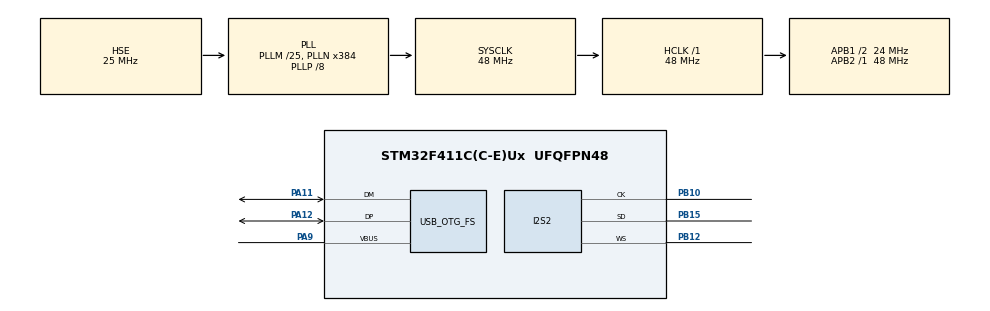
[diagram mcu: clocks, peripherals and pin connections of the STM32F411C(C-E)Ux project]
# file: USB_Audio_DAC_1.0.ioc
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Dma.Request0=SPI2_TX
Dma.SPI2_TX.0.Direction=DMA_MEMORY_TO_PERIPH
Dma.SPI2_TX.0.FIFOMode=DMA_FIFOMODE_ENABLE
Dma.SPI2_TX.0.FIFOThreshold=DMA_FIFO_THRESHOLD_FULL
Dma.SPI2_TX.0.Instance=DMA1_Stream4
Dma.SPI2_TX.0.MemBurst=DMA_MBURST_SINGLE
Dma.SPI2_TX.0.MemDataAlignment=DMA_MDATAALIGN_HALFWORD
Dma.SPI2_TX.0.MemInc=DMA_MINC_ENABLE
Dma.SPI2_TX.0.Mode=DMA_CIRCULAR
Dma.SPI2_TX.0.PeriphBurst=DMA_PBURST_SINGLE
Dma.SPI2_TX.0.PeriphDataAlignment=DMA_PDATAALIGN_HALFWORD
Dma.SPI2_TX.0.PeriphInc=DMA_PINC_DISABLE
Dma.SPI2_TX.0.Priority=DMA_PRIORITY_HIGH
I2S2.AudioFreq=I2S_AUDIOFREQ_48K
I2S2.ErrorAudioFreq=0.00 %
I2S2.FullDuplexMode=I2S_FULLDUPLEXMODE_DISABLE
I2S2.Instance=SPI$Index
I2S2.RealAudioFreq=48 KHz
I2S2.VirtualMode=I2S_MODE_MASTER
Mcu.Family=STM32F4
Mcu.Name=STM32F411C(C-E)Ux
Mcu.Package=UFQFPN48
NVIC.DMA1_Stream4_IRQn=true\:0\:0\:false\:false\:true\:false\:true\:true
NVIC.OTG_FS_IRQn=true\:0\:0\:false\:false\:true\:false\:true\:true
NVIC.PriorityGroup=NVIC_PRIORITYGROUP_4
PA11.Mode=Device_Only
PA11.Signal=USB_OTG_FS_DM
PA12.Mode=Device_Only
PA12.Signal=USB_OTG_FS_DP
PA9.Mode=Activate_VBUS
PA9.Signal=USB_OTG_FS_VBUS
PB10.Mode=Half_Duplex_Master
PB10.Signal=I2S2_CK
PB10.GPIO_Speed=GPIO_SPEED_FREQ_HIGH
PB12.Mode=Half_Duplex_Master
PB12.Signal=I2S2_WS
PB12.GPIO_Speed=GPIO_SPEED_FREQ_HIGH
PB15.Mode=Half_Duplex_Master
PB15.Signal=I2S2_SD
PB15.GPIO_Speed=GPIO_SPEED_FREQ_HIGH
PH0\ -\ OSC_IN.Mode=HSE-External-Oscillator
PH0\ -\ OSC_IN.Signal=RCC_OSC_IN
PH1\ -\ OSC_OUT.Mode=HSE-External-Oscillator
PH1\ -\ OSC_OUT.Signal=RCC_OSC_OUT
ProjectManager.HeapSize=0x1000
ProjectManager.StackSize=0x800
ProjectManager.TargetToolchain=Makefile
RCC.48MHZClocksFreq_Value=48000000
RCC.AHBFreq_Value=48000000
RCC.APB1CLKDivider=RCC_HCLK_DIV2
RCC.APB1Freq_Value=24000000
RCC.APB1TimFreq_Value=48000000
RCC.APB2Freq_Value=48000000
RCC.APB2TimFreq_Value=48000000
RCC.CortexFreq_Value=48000000
RCC.EnbaleCSS=true
RCC.HCLKFreq_Value=48000000
RCC.HSE_VALUE=25000000
RCC.HSI_VALUE=16000000
RCC.LSE_VALUE=32768
RCC.PLLI2SN=384
RCC.PLLI2SM=25
RCC.PLLM=25
RCC.PLLN=384
RCC.PLLP=RCC_PLLP_DIV8
RCC.PLLQ=8
RCC.RCC_MCO1Source=RCC_MCO1SOURCE_HSE
RCC.SYSCLKFreq_VALUE=48000000
RCC.SYSCLKSource=RCC_SYSCLKSOURCE_PLLCLK
RCC.VCOOutputFreq_Value=384000000
USB_DEVICE.CLASS_NAME_FS=AUDIO
USB_DEVICE.USBD_AUDIO_FREQ=48000
USB_DEVICE.VirtualMode=Audio
USB_DEVICE.VirtualModeFS=Audio_FS
USB_OTG_FS.Sof_enable=ENABLE
USB_OTG_FS.VirtualMode=Device_Only
VP_USB_DEVICE_VS_USB_DEVICE_AUDIO_FS.Mode=AUDIO_FS
board=custom

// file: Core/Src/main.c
/* USER CODE BEGIN Header */
/**
  ******************************************************************************
  * @file           : main.c
  * @brief          : Main program body
  ******************************************************************************
  * @attention
  *
  * Copyright (c) 2026 STMicroelectronics.
  * All rights reserved.
  *
  * This software is licensed under terms that can be found in the LICENSE file
  * in the root directory of this software component.
  * If no LICENSE file comes with this software, it is provided AS-IS.
  *
  ******************************************************************************
  */
/* USER CODE END Header */
#include "main.h"
#include "usb_device.h"

/* USER CODE BEGIN Includes */
#include "audio_i2s.h"
#include "audio_fft.h"
#include "visualizer.h"
/* USER CODE END Includes */

I2S_HandleTypeDef hi2s2;
DMA_HandleTypeDef hdma_spi2_tx;

/* USER CODE BEGIN PV */
/* The 1 kHz sine test buffer (AUDIO_BUFFER[882]) and the
 * Phase 2 sine-generation code are removed. The DMA now runs
 * on audio_i2s_buffer (in audio_i2s.c), which the I2S callbacks
 * refill from the USB ring buffer. */

/* Independent watchdog (~1 s window, refreshed every main-loop pass).
 * File-scope (not static) so the CubeMX-generated handle stays visible to
 * the IWDG HAL; instance is the shared IWDG peripheral. */
IWDG_HandleTypeDef hiwdg;
/* USER CODE END PV */

void SystemClock_Config(void);
static void MX_GPIO_Init(void);
static void MX_DMA_Init(void);
static void MX_I2S2_Init(void);

int main(void)
{

  /* MCU Configuration--------------------------------------------------------*/

  /* Reset of all peripherals, Initializes the Flash interface and the Systick. */
  HAL_Init();

  /* Configure the system clock */
  SystemClock_Config();

  /* USER CODE BEGIN SysInit */
  /* Spectrum visualizer: arm the FFT double-buffer BEFORE
   * AudioI2S_Init() starts circular DMA — otherwise the refill ISR
   * (DMA1_Stream4, priority 0) could call AudioFFT_PutSamples()
   * while Init clears flags / memset(tap_buf) / builds the Hann
   * window. AudioFFT_Init has no I2S/USB dependency (RFFT table,
   * window, flags only). */
  AudioFFT_Init();
  /* USER CODE END SysInit */

  /* Initialize all configured peripherals */
  MX_GPIO_Init();
  MX_DMA_Init();
  MX_I2S2_Init();

  /* Start the I2S consumer BEFORE USB enumeration so the
   * peripheral is already clocking out silence from a zeroed
   * buffer. When the USB host opens its audio pipe and the
   * ring starts filling, the I2S callbacks (in stm32f4xx_it.c)
   * will start pulling samples from the ring into the buffer.
   *
   * Order matters: if USB started first, the ring would fill
   * but nothing would drain it — by the time I2S started, the
   * ring could be overflowing on a bursty source. */
  AudioI2S_Init();

  MX_USB_DEVICE_Init();
  /* USER CODE BEGIN 2 */
  /* (Phase 2 1 kHz sine generation removed; the I2S DMA now
   * streams from audio_i2s_buffer, which is refilled from the
   * USB ring buffer.) */

  /* TFT visualizer: ST7735 SPI bring-up + splash. Must run BEFORE
   * the IWDG starts — the splash blocks in HAL_Delay for ~3.5 s,
   * which would trip a ~1 s watchdog mid-animation and reset the MCU. */
  Visualizer_Init();

  /* Start the independent watchdog: LSI (~32 kHz) / 64 = 500 Hz,
   * reload 500  ->  ~1.0 s timeout. Refresh happens in the main
   * loop; a hang ends in an IWDG reset instead of a dead device.
   *
   * NOTE: IWDG keeps counting while the CPU is halted, so with the
   * watchdog enabled a debugger cannot halt the core (it resets
   * ~1 s later). Build with -DDEBUG_NO_WATCHDOG to disable it for
   * SWD debugging. */
#if !defined(DEBUG_NO_WATCHDOG)
  hiwdg.Instance = IWDG;
  hiwdg.Init.Prescaler = IWDG_PRESCALER_64;
  hiwdg.Init.Reload = 500;
  if (HAL_IWDG_Init(&hiwdg) != HAL_OK)
  {
    Error_Handler();
  }
#endif
  /* USER CODE END 2 */

  /* Infinite loop */
  /* USER CODE BEGIN WHILE */
  while (1)
  {
#if !defined(DEBUG_NO_WATCHDOG)
    HAL_IWDG_Refresh(&hiwdg);
#endif
    /* USER CODE END WHILE */

    /* USER CODE BEGIN 3 */
    Visualizer_Update();
  }
  /* USER CODE END 3 */
}

void SystemClock_Config(void)
{
  RCC_OscInitTypeDef RCC_OscInitStruct = {0};
  RCC_ClkInitTypeDef RCC_ClkInitStruct = {0};

  /** Configure the main internal regulator output voltage
  */
  __HAL_RCC_PWR_CLK_ENABLE();
  __HAL_PWR_VOLTAGESCALING_CONFIG(PWR_REGULATOR_VOLTAGE_SCALE1);

  /** Initializes the RCC Oscillators according to the specified parameters
  * in the RCC_OscInitTypeDef structure.
  */
  RCC_OscInitStruct.OscillatorType = RCC_OSCILLATORTYPE_HSE;
  RCC_OscInitStruct.HSEState = RCC_HSE_ON;
  RCC_OscInitStruct.PLL.PLLState = RCC_PLL_ON;
  RCC_OscInitStruct.PLL.PLLSource = RCC_PLLSOURCE_HSE;
  RCC_OscInitStruct.PLL.PLLM = 25;
  RCC_OscInitStruct.PLL.PLLN = 384;
  RCC_OscInitStruct.PLL.PLLP = RCC_PLLP_DIV8;
  RCC_OscInitStruct.PLL.PLLQ = 8;
  if (HAL_RCC_OscConfig(&RCC_OscInitStruct) != HAL_OK)
  {
    Error_Handler();
  }

  /** Initializes the CPU, AHB and APB buses clocks
  */
  RCC_ClkInitStruct.ClockType = RCC_CLOCKTYPE_HCLK|RCC_CLOCKTYPE_SYSCLK
                              |RCC_CLOCKTYPE_PCLK1|RCC_CLOCKTYPE_PCLK2;
  RCC_ClkInitStruct.SYSCLKSource = RCC_SYSCLKSOURCE_PLLCLK;
  RCC_ClkInitStruct.AHBCLKDivider = RCC_SYSCLK_DIV1;
  RCC_ClkInitStruct.APB1CLKDivider = RCC_HCLK_DIV2;
  RCC_ClkInitStruct.APB2CLKDivider = RCC_HCLK_DIV1;

  if (HAL_RCC_ClockConfig(&RCC_ClkInitStruct, FLASH_LATENCY_1) != HAL_OK)
  {
    Error_Handler();
  }

  /** Enables the Clock Security System
  */
  HAL_RCC_EnableCSS();
}

static void MX_I2S2_Init(void)
{

  hi2s2.Instance = SPI2;
  hi2s2.Init.Mode = I2S_MODE_MASTER_TX;
  hi2s2.Init.Standard = I2S_STANDARD_PHILIPS;
  hi2s2.Init.DataFormat = I2S_DATAFORMAT_16B;
  hi2s2.Init.MCLKOutput = I2S_MCLKOUTPUT_DISABLE;
  hi2s2.Init.AudioFreq = I2S_AUDIOFREQ_48K;
  hi2s2.Init.CPOL = I2S_CPOL_LOW;
  hi2s2.Init.ClockSource = I2S_CLOCK_PLL;
  hi2s2.Init.FullDuplexMode = I2S_FULLDUPLEXMODE_DISABLE;
  if (HAL_I2S_Init(&hi2s2) != HAL_OK)
  {
    Error_Handler();
  }

}

static void MX_DMA_Init(void)
{

  /* DMA controller clock enable */
  __HAL_RCC_DMA1_CLK_ENABLE();

  /* DMA interrupt init */
  /* DMA1_Stream4_IRQn interrupt configuration
   * Priority 0 (highest): audio DMA callbacks are time-critical.
   * They must complete within ~5ms to refill the I2S buffer before
   * the DMA reads stale data. USB (priority 3) can tolerate latency. */
  HAL_NVIC_SetPriority(DMA1_Stream4_IRQn, 0, 0);
  HAL_NVIC_EnableIRQ(DMA1_Stream4_IRQn);

}

static void MX_GPIO_Init(void)
{
  GPIO_InitTypeDef GPIO_InitStruct = {0};

  /* GPIO Ports Clock Enable */
  __HAL_RCC_GPIOC_CLK_ENABLE();
  __HAL_RCC_GPIOH_CLK_ENABLE();
  __HAL_RCC_GPIOA_CLK_ENABLE();
  __HAL_RCC_GPIOB_CLK_ENABLE();

  /*Configure GPIO pins : PC13 PC14 PC15 */
  GPIO_InitStruct.Pin = GPIO_PIN_13|GPIO_PIN_14|GPIO_PIN_15;
  GPIO_InitStruct.Mode = GPIO_MODE_ANALOG;
  GPIO_InitStruct.Pull = GPIO_NOPULL;
  HAL_GPIO_Init(GPIOC, &GPIO_InitStruct);

  /*Configure GPIO pins : PA0 PA1 PA2 PA3
                           PA4 PA5 PA6 PA7
                           PA8 PA10 PA13 PA14
                           PA15 */
  GPIO_InitStruct.Pin = GPIO_PIN_0|GPIO_PIN_1|GPIO_PIN_2|GPIO_PIN_3
                          |GPIO_PIN_4|GPIO_PIN_5|GPIO_PIN_6|GPIO_PIN_7
                          |GPIO_PIN_8|GPIO_PIN_10|GPIO_PIN_13|GPIO_PIN_14
                          |GPIO_PIN_15;
  GPIO_InitStruct.Mode = GPIO_MODE_ANALOG;
  GPIO_InitStruct.Pull = GPIO_NOPULL;
  HAL_GPIO_Init(GPIOA, &GPIO_InitStruct);

  /*Configure GPIO pins : PB0 PB1 PB2 PB13
                           PB14 PB3 PB4 PB5
                           PB6 PB7 PB8 PB9 */
  GPIO_InitStruct.Pin = GPIO_PIN_0|GPIO_PIN_1|GPIO_PIN_2|GPIO_PIN_13
                          |GPIO_PIN_14|GPIO_PIN_3|GPIO_PIN_4|GPIO_PIN_5
                          |GPIO_PIN_6|GPIO_PIN_7|GPIO_PIN_8|GPIO_PIN_9;
  GPIO_InitStruct.Mode = GPIO_MODE_ANALOG;
  GPIO_InitStruct.Pull = GPIO_NOPULL;
  HAL_GPIO_Init(GPIOB, &GPIO_InitStruct);

}

/* USER CODE BEGIN 4 */

/* HAL I2S callbacks (HAL_I2S_TxHalfCpltCallback / HAL_I2S_TxCpltCallback)
 * are implemented in stm32f4xx_it.c — they route to AudioI2S_RefillHalfA/B
 * which pull samples from the ring buffer. See stm32f4xx_it.c. */

/* USER CODE END 4 */

void Error_Handler(void)
{
  __disable_irq();
  while (1)
  {
  }
}
